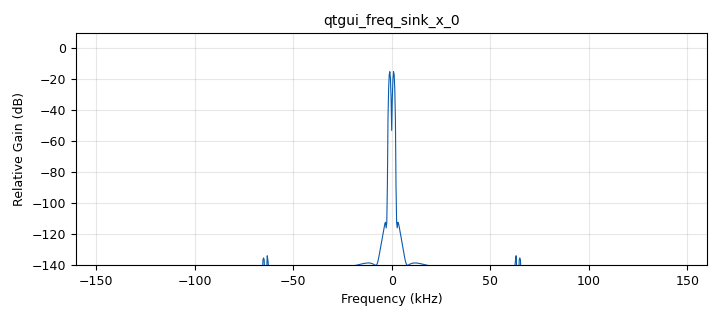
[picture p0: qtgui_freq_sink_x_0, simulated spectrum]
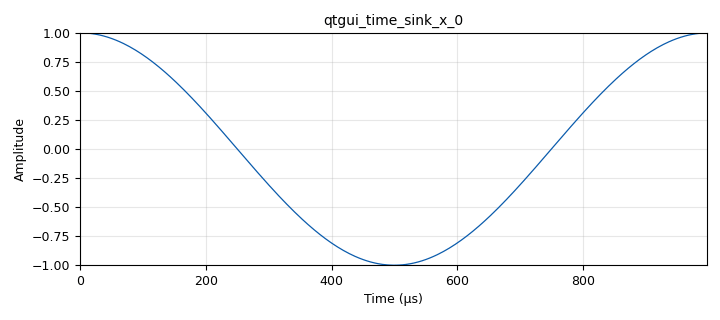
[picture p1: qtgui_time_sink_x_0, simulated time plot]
options:
  parameters:
    author: luso
    generate_options: qt_gui
    id: indirect_FM
    output_language: python
    title: Not titled yet
  states: {}

blocks:
- name: chooser
  id: variable_qtgui_chooser
  parameters:
    gui_hint: 0,1
    label0: Cos
    label1: Sin
    num_opts: '2'
    option0: '0'
    option1: np.pi/2
    type: real
    value: '0'
    widget: radio_buttons
  states: {}
- name: freq
  id: variable_qtgui_range
  parameters:
    gui_hint: 0,0
    label: Frequency
    start: '0'
    step: '10'
    stop: '10000'
    value: '1000'
  states: {}
- name: samp_rate
  id: variable
  parameters:
    value: '320000'
  states: {}
- name: analog_sig_source_x_0
  id: analog_sig_source_x
  parameters:
    amp: '1'
    freq: freq
    offset: '0'
    phase: chooser
    samp_rate: samp_rate
    type: float
    waveform: analog.GR_COS_WAVE
  states: {}
- name: analog_sig_source_x_0_0
  id: analog_sig_source_x
  parameters:
    amp: '1'
    freq: freq
    offset: '0'
    phase: chooser
    samp_rate: samp_rate
    type: float
    waveform: analog.GR_SIN_WAVE
  states: {}
- name: blocks_selector_0
  id: blocks_selector
  parameters:
    enabled: 'True'
    input_index: '0'
    num_inputs: '2'
    num_outputs: '1'
    output_index: '0'
    type: float
  states: {}
- name: iir_filter_xxx_0
  id: iir_filter_xxx
  parameters:
    fbtaps: '[1, -1]'
    fftaps: '1'
    type: ffd
  states: {state: disabled}
- name: import_0
  id: import
  parameters:
    imports: import numpy as np
  states: {}
- name: qtgui_freq_sink_x_0
  id: qtgui_freq_sink_x
  parameters:
    bw: samp_rate
    fc: '0'
    fftsize: '1024'
    type: float
  states: {}
- name: qtgui_time_sink_x_0
  id: qtgui_time_sink_x
  parameters:
    ctrlpanel: 'True'
    size: round(samp_rate/freq)
    srate: samp_rate
    type: float
  states: {}
- name: single_pole_iir_filter_xx_0
  id: single_pole_iir_filter_xx
  parameters:
    alpha: '1'
    type: float
  states: {}

connections:
- [analog_sig_source_x_0, '0', blocks_selector_0, '0']
- [analog_sig_source_x_0, '0', iir_filter_xxx_0, '0']
- [analog_sig_source_x_0_0, '0', blocks_selector_0, '1']
- [blocks_selector_0, '0', single_pole_iir_filter_xx_0, '0']
- [iir_filter_xxx_0, '0', qtgui_freq_sink_x_0, '0']
- [iir_filter_xxx_0, '0', qtgui_time_sink_x_0, '0']
- [single_pole_iir_filter_xx_0, '0', qtgui_freq_sink_x_0, '0']
- [single_pole_iir_filter_xx_0, '0', qtgui_time_sink_x_0, '0']

metadata:
  file_format: 1
  grc_version: 3.10.10.0
